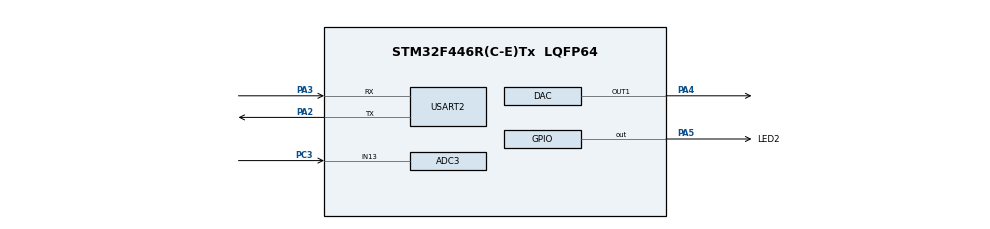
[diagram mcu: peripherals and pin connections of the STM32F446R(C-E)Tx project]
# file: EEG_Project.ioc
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ADC3.Channel-2\#ChannelRegularConversion=ADC_CHANNEL_13
ADC3.ClockPrescaler=ADC_CLOCK_SYNC_PCLK_DIV4
ADC3.DMAContinuousRequests=ENABLE
ADC3.EnableAnalogWatchDog=false
ADC3.ExternalTrigConv=ADC_EXTERNALTRIGCONV_T8_TRGO
ADC3.ExternalTrigConvEdge=ADC_EXTERNALTRIGCONVEDGE_RISING
ADC3.NbrOfConversion=1
ADC3.NbrOfConversionFlag=1
ADC3.Rank-2\#ChannelRegularConversion=1
ADC3.SamplingTime-2\#ChannelRegularConversion=ADC_SAMPLETIME_480CYCLES
DAC.DAC_Trigger=DAC_TRIGGER_T8_TRGO
Dma.ADC3.0.Direction=DMA_PERIPH_TO_MEMORY
Dma.ADC3.0.FIFOMode=DMA_FIFOMODE_DISABLE
Dma.ADC3.0.Instance=DMA2_Stream0
Dma.ADC3.0.MemDataAlignment=DMA_MDATAALIGN_HALFWORD
Dma.ADC3.0.MemInc=DMA_MINC_ENABLE
Dma.ADC3.0.Mode=DMA_CIRCULAR
Dma.ADC3.0.PeriphDataAlignment=DMA_PDATAALIGN_HALFWORD
Dma.ADC3.0.PeriphInc=DMA_PINC_DISABLE
Dma.ADC3.0.Priority=DMA_PRIORITY_MEDIUM
Dma.DAC1.1.Direction=DMA_MEMORY_TO_PERIPH
Dma.DAC1.1.FIFOMode=DMA_FIFOMODE_DISABLE
Dma.DAC1.1.Instance=DMA1_Stream5
Dma.DAC1.1.MemDataAlignment=DMA_MDATAALIGN_HALFWORD
Dma.DAC1.1.MemInc=DMA_MINC_ENABLE
Dma.DAC1.1.Mode=DMA_CIRCULAR
Dma.DAC1.1.PeriphDataAlignment=DMA_PDATAALIGN_HALFWORD
Dma.DAC1.1.PeriphInc=DMA_PINC_DISABLE
Dma.DAC1.1.Priority=DMA_PRIORITY_MEDIUM
Dma.Request0=ADC3
Dma.Request1=DAC1
Mcu.Family=STM32F4
Mcu.Name=STM32F446R(C-E)Tx
Mcu.Package=LQFP64
NVIC.ADC_IRQn=true\:0\:0\:false\:false\:true\:true\:true\:true
NVIC.DMA1_Stream5_IRQn=true\:0\:0\:false\:false\:true\:false\:true\:true
NVIC.DMA2_Stream0_IRQn=true\:0\:0\:false\:false\:true\:false\:true\:true
NVIC.PriorityGroup=NVIC_PRIORITYGROUP_4
PA13.Mode=Serial_Wire
PA13.Signal=SYS_JTMS-SWDIO
PA14.Mode=Serial_Wire
PA14.Signal=SYS_JTCK-SWCLK
PA2.Mode=Asynchronous
PA2.Signal=USART2_TX
PA3.Mode=Asynchronous
PA3.Signal=USART2_RX
PA4.Signal=COMP_DAC1_group
PA5.GPIO_Label=LED2
PA5.Signal=GPIO_Output
PC3.Signal=ADCx_IN13
ProjectManager.HeapSize=0x200
ProjectManager.StackSize=0x400
ProjectManager.TargetToolchain=STM32CubeIDE
RCC.CortexFreq_Value=16000000
RCC.USBFreq_Value=96000000
RCC.VCOOutputFreq_Value=192000000
SH.ADCx_IN13.0=ADC3_IN13,IN13
SH.COMP_DAC1_group.0=DAC_OUT1,DAC_OUT1
TIM8.Period=1
TIM8.Prescaler=15999
TIM8.TIM_MasterOutputTrigger=TIM_TRGO_UPDATE
USART2.VirtualMode=VM_ASYNC
VP_TIM8_VS_ClockSourceINT.Mode=Internal
board=custom

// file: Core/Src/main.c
/* USER CODE BEGIN Header */
/**
  ******************************************************************************
  * @file           : main.c
  * @brief          : Main program body
  ******************************************************************************
  * @attention
  *
  * Copyright (c) 2025 STMicroelectronics.
  * All rights reserved.
  *
  * This software is licensed under terms that can be found in the LICENSE file
  * in the root directory of this software component.
  * If no LICENSE file comes with this software, it is provided AS-IS.
  *
  ******************************************************************************
  */
/* USER CODE END Header */
#include "main.h"

/* USER CODE BEGIN Includes */
#include "arm_math.h"
#include <math.h>
#include <string.h>
/* USER CODE END Includes */

/* USER CODE BEGIN PTD */
#define NUM_STAGES   3          // you said: 2 for bandpass + 1 notch
#define BLOCK_SIZE   512        // number of samples you process per call (can be half DMA buffer)
#define FS_HZ       500
//#define FFT_LEN     512
//#define FFT_BINS    (FFT_LEN/2)

////// old code end here
#define SEG_LEN    256
#define HOP        128          // 50% overlap
#define NFFT       SEG_LEN       // main bin length
#define K_TARGET   7			// # of subbins in 2 seconds
#define FFT_BINS   (NFFT/2)     // FFT bins
#define DF_HZ      ((float)FS_HZ/(float)SEG_LEN)
/* USER CODE END PTD */

ADC_HandleTypeDef hadc3;
DMA_HandleTypeDef hdma_adc3;

DAC_HandleTypeDef hdac;
DMA_HandleTypeDef hdma_dac1;

TIM_HandleTypeDef htim8;

UART_HandleTypeDef huart2;

/* USER CODE BEGIN PV */
volatile uint32_t Buffer_Length = 512;
uint16_t adc_buf[512];   // DMA buffer for ADC samples
uint16_t work_buf1[512];
uint16_t work_buf2[512];// a buffer for me to use to do math dc removal/windowing/filtering etc.
uint16_t out_buf[512];
volatile uint8_t which_half = 0;
volatile uint8_t buffer_ready = 0;
static float dac_scale = 15.0f;   //
/////////////////////////////////////////////////////////////////////////// Filter coefficients
float biquad_coeffs[NUM_STAGES * 5] = {
    0.0366f, 0.0731f, 0.0366f, 1.3909f, -0.5372f,   // LPF coefiicients b0, b1, b2, a1, a2 BE CAREFUL THIS PROGRAM FLIPS THE SIGNS OF A COEFFICIENTS
	1.0000f,-1.6180f, 1.0000f, 1.6019f, -0.9801f,  //Notch coefiieicnts b0, b1, b2, a1, a2
	1.0000f,-2.0000f, 1.0000f, 1.9800f, -0.9801f,  //HPF coefiieicnts b0, b1, b2, a1, a2
};
/////////////////////////////////////////////////////////////////////////// Filter coefficients
/////////////////////////////////////////////////////////////////////////// Filtering Variables
float biquad_state[NUM_STAGES * 2];
arm_biquad_cascade_df2T_instance_f32 biquadS;

static float in_f[BLOCK_SIZE];
static float out_f[BLOCK_SIZE];
/////////////////////////////////////////////////////////////////////////// Filtering Variables

///////////////////////////////////////////////////////////////////////////	FFT variables
//arm_rfft_fast_instance_f32 rfft;
//static float fft_in[FFT_LEN];
//static float fft_out[FFT_LEN];
//float mag[(FFT_LEN/2)+1];
//float hann[FFT_LEN];
//static uint16_t k_max = 55;
float EEG_DATA[6]; // indices: 0 = delta; 1 = theta; 2 = alpha; 3 = beta; 4 = 50hz hum; 5 = power band of 12HZ+24Hz
///// old code end here

// Welch / Hamming state
static float ring[SEG_LEN*2];          // copy-free overlap
static int   wr = 0, newCount = 0, K = 0;

arm_rfft_fast_instance_f32 rfft;
static float ham[SEG_LEN];             // Hamming window
static float U = 0.0f;                 // window power (≈0.3974 for Hamming 256)
static float seg[SEG_LEN];
static float fft_in[NFFT], fft_out[NFFT];

static float psd_accum[NFFT/2 + 1]; // psd means power spectral density = power of frequency spectrum basically
static float psd[NFFT/2 + 1];

///////////////////////////////////////////////////////////////////////////	FFT variables

/* USER CODE END PV */

void SystemClock_Config(void);
static void MX_GPIO_Init(void);
static void MX_DMA_Init(void);
static void MX_ADC3_Init(void);
static void MX_USART2_UART_Init(void);
static void MX_DAC_Init(void);
static void MX_TIM8_Init(void);
/* USER CODE BEGIN PFP */
static void print_stats(uint16_t *p, size_t n);
static void DMA_Tester(void);
static void Dc_Removal(const uint16_t *in, uint16_t *out, size_t n);
static void ADC_DAC_test (uint16_t *in, uint16_t *out, size_t n);
static void process_block(uint16_t *in, uint16_t *out, size_t n);
static void my_fft_block (const uint16_t *in, float *hann, uint16_t k_max);  // FFT pipeline
static void init_hamming(void);
static void Bandpower(const float *in);
static void EEG_OUT(void);
static void init_hann_window(void); // comment from here to go back to previous version
static void Bandpower_from_psd(const float *Sxx, float df);
static void welch_process_segment(void);
static inline void welch_push_sample(float x);
static void EEG_OUT2(void);
/* USER CODE END PFP */

/* USER CODE BEGIN 0 */
#include <stdio.h>
int __io_putchar(int ch) {
  extern UART_HandleTypeDef huart2;
  HAL_UART_Transmit(&huart2, (uint8_t*)&ch, 1, 10);
  return ch;
}
/* USER CODE END 0 */

int main(void)
{

  /* MCU Configuration--------------------------------------------------------*/

  /* Reset of all peripherals, Initializes the Flash interface and the Systick. */
  HAL_Init();

  /* Configure the system clock */
  SystemClock_Config();

  /* Initialize all configured peripherals */
  MX_GPIO_Init();
  MX_DMA_Init();
  MX_ADC3_Init();
  MX_USART2_UART_Init();
  MX_DAC_Init();
  MX_TIM8_Init();
  /* USER CODE BEGIN 2 */
  HAL_ADC_Start_DMA(&hadc3, (uint32_t*)adc_buf, Buffer_Length);
  HAL_DAC_Start(&hdac, DAC_CHANNEL_1);
  HAL_TIM_Base_Start(&htim8);
  arm_biquad_cascade_df2T_init_f32(&biquadS, NUM_STAGES,biquad_coeffs,biquad_state);
  arm_rfft_fast_init_f32(&rfft, NFFT);   // Init FFT
  init_hamming();
  memset(psd_accum, 0, sizeof(psd_accum));
  K = 0;
//  init_hann_window();                       // Fill hann[] table /////// to go back to previous version uncomment
  printf("delta,theta,alpha,beta\n");
  /* USER CODE END 2 */

  /* Infinite loop */
  /* USER CODE BEGIN WHILE */
  while (1)
  {
	  if (buffer_ready){
		  Dc_Removal(adc_buf, work_buf1, Buffer_Length); // the processing that we do
		  process_block(work_buf1, out_buf,Buffer_Length);

//		  ADC_DAC_test(adc_buf, out_buf, Buffer_Length);
		  HAL_DAC_Stop_DMA(&hdac, DAC_CHANNEL_1);
		  HAL_DAC_Start_DMA(&hdac, DAC_CHANNEL_1, (uint32_t*)out_buf, Buffer_Length, DAC_ALIGN_12B_R);
//		  //// uncomment for the previus fft block
//		  my_fft_block(out_buf,hann,k_max); //FFT function
//		  Bandpower(mag);
//		  EEG_OUT();

		  for (size_t i=0; i<Buffer_Length; i++){
		      welch_push_sample(out_f[i]);   // analyze filtered float stream
		  }

		  buffer_ready  = 0;
	  }

//	  DMA_Tester();
//	  HAL_Delay(20);
//	  HAL_GPIO_TogglePin(LED2_GPIO_Port,LED2_Pin);

//	  printf("Hello UART2!\r\n");
//	  HAL_Delay(1000);
    /* USER CODE END WHILE */

  }
}

void SystemClock_Config(void)
{
  RCC_OscInitTypeDef RCC_OscInitStruct = {0};
  RCC_ClkInitTypeDef RCC_ClkInitStruct = {0};

  /** Configure the main internal regulator output voltage
  */
  __HAL_RCC_PWR_CLK_ENABLE();
  __HAL_PWR_VOLTAGESCALING_CONFIG(PWR_REGULATOR_VOLTAGE_SCALE3);

  /** Initializes the RCC Oscillators according to the specified parameters
  * in the RCC_OscInitTypeDef structure.
  */
  RCC_OscInitStruct.OscillatorType = RCC_OSCILLATORTYPE_HSI;
  RCC_OscInitStruct.HSIState = RCC_HSI_ON;
  RCC_OscInitStruct.HSICalibrationValue = RCC_HSICALIBRATION_DEFAULT;
  RCC_OscInitStruct.PLL.PLLState = RCC_PLL_NONE;
  if (HAL_RCC_OscConfig(&RCC_OscInitStruct) != HAL_OK)
  {
    Error_Handler();
  }

  /** Initializes the CPU, AHB and APB buses clocks
  */
  RCC_ClkInitStruct.ClockType = RCC_CLOCKTYPE_HCLK|RCC_CLOCKTYPE_SYSCLK
                              |RCC_CLOCKTYPE_PCLK1|RCC_CLOCKTYPE_PCLK2;
  RCC_ClkInitStruct.SYSCLKSource = RCC_SYSCLKSOURCE_HSI;
  RCC_ClkInitStruct.AHBCLKDivider = RCC_SYSCLK_DIV1;
  RCC_ClkInitStruct.APB1CLKDivider = RCC_HCLK_DIV1;
  RCC_ClkInitStruct.APB2CLKDivider = RCC_HCLK_DIV1;

  if (HAL_RCC_ClockConfig(&RCC_ClkInitStruct, FLASH_LATENCY_0) != HAL_OK)
  {
    Error_Handler();
  }
}

static void MX_ADC3_Init(void)
{

  ADC_ChannelConfTypeDef sConfig = {0};

  /** Configure the global features of the ADC (Clock, Resolution, Data Alignment and number of conversion)
  */
  hadc3.Instance = ADC3;
  hadc3.Init.ClockPrescaler = ADC_CLOCK_SYNC_PCLK_DIV4;
  hadc3.Init.Resolution = ADC_RESOLUTION_12B;
  hadc3.Init.ScanConvMode = DISABLE;
  hadc3.Init.ContinuousConvMode = DISABLE;
  hadc3.Init.DiscontinuousConvMode = DISABLE;
  hadc3.Init.ExternalTrigConvEdge = ADC_EXTERNALTRIGCONVEDGE_RISING;
  hadc3.Init.ExternalTrigConv = ADC_EXTERNALTRIGCONV_T8_TRGO;
  hadc3.Init.DataAlign = ADC_DATAALIGN_RIGHT;
  hadc3.Init.NbrOfConversion = 1;
  hadc3.Init.DMAContinuousRequests = ENABLE;
  hadc3.Init.EOCSelection = ADC_EOC_SINGLE_CONV;
  if (HAL_ADC_Init(&hadc3) != HAL_OK)
  {
    Error_Handler();
  }

  /** Configure for the selected ADC regular channel its corresponding rank in the sequencer and its sample time.
  */
  sConfig.Channel = ADC_CHANNEL_13;
  sConfig.Rank = 1;
  sConfig.SamplingTime = ADC_SAMPLETIME_480CYCLES;
  if (HAL_ADC_ConfigChannel(&hadc3, &sConfig) != HAL_OK)
  {
    Error_Handler();
  }

}

static void MX_DAC_Init(void)
{

  DAC_ChannelConfTypeDef sConfig = {0};

  /** DAC Initialization
  */
  hdac.Instance = DAC;
  if (HAL_DAC_Init(&hdac) != HAL_OK)
  {
    Error_Handler();
  }

  /** DAC channel OUT1 config
  */
  sConfig.DAC_Trigger = DAC_TRIGGER_T8_TRGO;
  sConfig.DAC_OutputBuffer = DAC_OUTPUTBUFFER_ENABLE;
  if (HAL_DAC_ConfigChannel(&hdac, &sConfig, DAC_CHANNEL_1) != HAL_OK)
  {
    Error_Handler();
  }

}

static void MX_TIM8_Init(void)
{

  TIM_ClockConfigTypeDef sClockSourceConfig = {0};
  TIM_MasterConfigTypeDef sMasterConfig = {0};

  htim8.Instance = TIM8;
  htim8.Init.Prescaler = 15999;
  htim8.Init.CounterMode = TIM_COUNTERMODE_UP;
  htim8.Init.Period = 1;
  htim8.Init.ClockDivision = TIM_CLOCKDIVISION_DIV1;
  htim8.Init.RepetitionCounter = 0;
  htim8.Init.AutoReloadPreload = TIM_AUTORELOAD_PRELOAD_DISABLE;
  if (HAL_TIM_Base_Init(&htim8) != HAL_OK)
  {
    Error_Handler();
  }
  sClockSourceConfig.ClockSource = TIM_CLOCKSOURCE_INTERNAL;
  if (HAL_TIM_ConfigClockSource(&htim8, &sClockSourceConfig) != HAL_OK)
  {
    Error_Handler();
  }
  sMasterConfig.MasterOutputTrigger = TIM_TRGO_UPDATE;
  sMasterConfig.MasterSlaveMode = TIM_MASTERSLAVEMODE_DISABLE;
  if (HAL_TIMEx_MasterConfigSynchronization(&htim8, &sMasterConfig) != HAL_OK)
  {
    Error_Handler();
  }

}

static void MX_USART2_UART_Init(void)
{

  huart2.Instance = USART2;
  huart2.Init.BaudRate = 115200;
  huart2.Init.WordLength = UART_WORDLENGTH_8B;
  huart2.Init.StopBits = UART_STOPBITS_1;
  huart2.Init.Parity = UART_PARITY_NONE;
  huart2.Init.Mode = UART_MODE_TX_RX;
  huart2.Init.HwFlowCtl = UART_HWCONTROL_NONE;
  huart2.Init.OverSampling = UART_OVERSAMPLING_16;
  if (HAL_UART_Init(&huart2) != HAL_OK)
  {
    Error_Handler();
  }

}

static void MX_DMA_Init(void)
{

  /* DMA controller clock enable */
  __HAL_RCC_DMA2_CLK_ENABLE();
  __HAL_RCC_DMA1_CLK_ENABLE();

  /* DMA interrupt init */
  /* DMA1_Stream5_IRQn interrupt configuration */
  HAL_NVIC_SetPriority(DMA1_Stream5_IRQn, 0, 0);
  HAL_NVIC_EnableIRQ(DMA1_Stream5_IRQn);
  /* DMA2_Stream0_IRQn interrupt configuration */
  HAL_NVIC_SetPriority(DMA2_Stream0_IRQn, 0, 0);
  HAL_NVIC_EnableIRQ(DMA2_Stream0_IRQn);

}

static void MX_GPIO_Init(void)
{
  GPIO_InitTypeDef GPIO_InitStruct = {0};

  /* GPIO Ports Clock Enable */
  __HAL_RCC_GPIOC_CLK_ENABLE();
  __HAL_RCC_GPIOA_CLK_ENABLE();

  /*Configure GPIO pin Output Level */
  HAL_GPIO_WritePin(LED2_GPIO_Port, LED2_Pin, GPIO_PIN_RESET);

  /*Configure GPIO pin : LED2_Pin */
  GPIO_InitStruct.Pin = LED2_Pin;
  GPIO_InitStruct.Mode = GPIO_MODE_OUTPUT_PP;
  GPIO_InitStruct.Pull = GPIO_NOPULL;
  GPIO_InitStruct.Speed = GPIO_SPEED_FREQ_LOW;
  HAL_GPIO_Init(LED2_GPIO_Port, &GPIO_InitStruct);

}

/* USER CODE BEGIN 4 */
//void HAL_ADC_ConvCpltCallback(ADC_HandleTypeDef *hadc)
//{
//  if (hadc->Instance == ADC3) {
//    uint16_t raw = HAL_ADC_GetValue(hadc);           // 0..4095
//    uint32_t mv  = (uint32_t)raw * 3300 / 4095;      // assume VDDA ≈ 3.3 V
//    printf("%u,%lu\r\n", raw, (unsigned long)mv);    // CSV to serial
//  }
//}

void HAL_ADC_ConvHalfCpltCallback(ADC_HandleTypeDef* hadc) {
    if (hadc->Instance == ADC3) {
    	HAL_GPIO_TogglePin(LED2_GPIO_Port, LED2_Pin);
    	which_half = 1;
    }
}

void HAL_ADC_ConvCpltCallback(ADC_HandleTypeDef* hadc) {
    if (hadc->Instance == ADC3) {
    	HAL_GPIO_TogglePin(LED2_GPIO_Port, LED2_Pin);
    	which_half = 2;
    	buffer_ready = 1;
    }
}

static void Dc_Removal(const uint16_t *in, uint16_t *out, size_t n){
	uint32_t sum = 0;
	for (size_t i=0; i<n;i++) {sum += in[i];} 						// here we take the sum of the buffer by looping through each element and accumulating
		uint32_t mean = sum/n; 										// here we take the average

	for (size_t i=0; i<n;i++){
		int32_t v = (int32_t)in[i]-(int32_t)mean;
		int32_t x = (int32_t)in[i];
		int32_t y = v + 2048; 									 // we are shifting it to the mid scale so that DAC can write it
//		int32_t y = in;
//		int32_t y = v;
		if (y < 0) y = 0;										 // failsafe ifs to make our output bounded
		if (y > 4095) y = 4095;
		out[i] = (uint16_t)y;
	}
}
static void ADC_DAC_test (uint16_t *in, uint16_t *out, size_t n){
	for (size_t i = 0; i < n; i++) {
	            out[i] = in[i];
	        }
}

static void print_stats(uint16_t *p, size_t n){
	uint32_t sum = 0;											//initilize the variables that we are going to use
	for (size_t i=0; i<n;i++) {uint16_t v = p[i]; sum += v;} 	// here we take the sum of the buffer by looping through each element and accumulating
	uint32_t mean = sum/n;										 // here we take the average
	uint32_t mean_mV = mean * (3000/4095);
	printf("mean=%u (%lumV)\r\n", mean,(unsigned long)mean_mV);
}

static void DMA_Tester(void){
	if (which_half == 1){
			  print_stats(&adc_buf[0], 256);
			  which_half = 0;
		  }

		  else if (which_half == 2){
			  print_stats(&adc_buf[256], 256);
			  which_half = 0;
		  }
}

static inline uint16_t sat12f(float v){ // making sure that our function is bounded
	if (v < 0.f) v = 0.f;
	if (v > 4095.f) v = 4095.f;
	return (uint16_t)(v+0.5f);
}

static void process_block(uint16_t *in, uint16_t *out, size_t n){
	for (size_t i = 0; i<n; i++) {
		in_f[i] = ((float)in[i]-2048.0f)/2048; // i didn't understand why is this the case
	}
	arm_biquad_cascade_df2T_f32(&biquadS, in_f, out_f, n);
	for (size_t i=0; i<n; i++){
		float v = (out_f[i]*dac_scale) * 2048.0f + 2048.0f;
		out[i] = sat12f(v);
	}
}

static void welch_process_segment(void){
	int start = (wr - SEG_LEN + SEG_LEN) % SEG_LEN;

	for (int i = 0; i<SEG_LEN; i++) seg[i] = ring[start + i] * ham[i]; // apply the hammin window to our subsegment

	for (int i = 0; i<SEG_LEN; i++) fft_in[i] = seg[i]; // i fill my fft buffer with windowed subsegment

	for (int i = SEG_LEN; i<NFFT; i++) fft_in[i] = 0.0f; // if the rest of the buffer is not needed fill with zeros

	arm_rfft_fast_f32(&rfft, fft_in, fft_out, 0); // we take the fft of our subwindow/subsegment

	static float power[NFFT/2 + 1]; //this will be the power of buffer fft removes half the samples and makes from 1hz to 500 hz

	power[0] =  fft_out[0]*fft_out[0];   // DC
	power[NFFT/2] = fft_out[1]*fft_out[1];   // Nyquist
	arm_cmplx_mag_squared_f32(&fft_out[2], &power[1], (NFFT/2 - 1)); // we here square and store

	for (int k = 0; k <= NFFT/2; k++) psd_accum[k] += power[k];

	if (++K >= K_TARGET){ // check if we reached 7 subsamples and if so:
		for (int k=0; k<=NFFT/2;k++){
			float two = (k==0 || k==NFFT/2) ? 1.0f : 2.0f; // if the frequencies are not nyquist or zero then w_i = w_i*2 because they represent both the -w_i and +w_i energies
			psd[k] = (two * psd_accum[k]) / ((float)K * (float)FS_HZ * (float)SEG_LEN * U);
		}
		memset(psd_accum, 0, sizeof(psd_accum));
		K = 0;

		Bandpower_from_psd(psd, DF_HZ); // calculate the band power
		EEG_OUT2();
	}
}

static inline void welch_push_sample(float x){
	ring [wr] = x; ring[wr + SEG_LEN] = x; // mirror
	wr = (wr + 1) % SEG_LEN;
	if(++newCount >= HOP){
		newCount = 0;
		welch_process_segment();
	}
}

// also uncomment to go back to previous versi
//static void my_fft_block (const uint16_t *in, float *hann, uint16_t k_max){
//	const float LSB_V = 3.3f/ 4095.0f; // this is the voltage of one bit
//	for (int i = 0; i < FFT_LEN; i++){
//		float x = ((float)in[i] - 2048.0f) * LSB_V; // -2048 because removing 1.65Dc offset, LSB_V is voltage of one count so multiply to get volts
//		fft_in[i] = x * hann[i];
//	}
//	arm_rfft_fast_f32(&rfft, fft_in, fft_out, 0);
//
//	for (int k = 0; k < FFT_BINS; k++){
//		float re = fft_out[2*k + 0];
//		float im = fft_out[2*k + 1]; // because it is a complex array we store a complex number in two array points
//		mag[k] = (re*re + im*im) / (FFT_LEN * FFT_LEN); // here we get the magnitude array of our
//	}
//	for (int k = 0; k <= k_max; k++){
//		float freq = (FS_HZ *(float)k) / (float)FFT_LEN;
////		printf("%2d, %6.2f Hz, %f\r\n", k, freq, mag[k]);
//	}
////	printf("---\r\n");
//}

// uncomment to go back to previous versino of the code
//static void init_hann_window(void) {
//    for (int i = 0; i < FFT_LEN; i++) {
//        hann[i] = 0.5f * (1.0f - cosf((2.0f * M_PI * i) / (FFT_LEN - 1)));
//    }
//}

static void init_hamming(void){
	U = 0.0f;
	for (int n=0; n<SEG_LEN; n++){
		ham[n] = 0.54f - 0.46f * cosf(2.0f * M_PI * n / (SEG_LEN - 1));
		U += ham[n]*ham[n];
	}
	U /= (float)SEG_LEN;
}

static void Bandpower_from_psd(const float *Sxx, float df){
    // 0..3: classic bands
    const float lo[4] = {1.0f, 4.0f,  8.0f, 13.0f};
    const float hi[4] = {4.0f, 8.0f, 13.0f, 30.0f};
    for (int i=0;i<6;i++) EEG_DATA[i]=0.0f;

    for (int b=0; b<4; b++){
        int k0 = (int)lroundf(lo[b]/df); if (k0<1) k0=1;
        int k1 = (int)lroundf(hi[b]/df); if (k1>(NFFT/2)) k1=(NFFT/2);
        float sum=0.0f; for (int k=k0;k<=k1;k++) sum+=Sxx[k];
        EEG_DATA[b] = sum * df;
    }
    // 4: 50 Hz line (single-bin approx)
    int k50 = (int)lroundf(50.0f/df); if (k50>(NFFT/2)) k50=(NFFT/2);
    EEG_DATA[4] = Sxx[k50]*df;

    // 5: 12 Hz + 24 Hz narrow bands (±0.5 Hz)
    int k12a=(int)floorf((12.0f-0.5f)/df), k12b=(int)ceilf((12.0f+0.5f)/df);
    int k24a=(int)floorf((24.0f-0.5f)/df), k24b=(int)ceilf((24.0f+0.5f)/df);
    float s=0.0f;
    for(int k=k12a;k<=k12b;k++) if(k>=1 && k<=NFFT/2) s+=Sxx[k];
    for(int k=k24a;k<=k24b;k++) if(k>=1 && k<=NFFT/2) s+=Sxx[k];
    EEG_DATA[5]=s*df;
}

static void Bandpower(const float *in){
	for(int i=0; i<4; i++) EEG_DATA[i] = 0;   // reset

	for (int i = 1; i < 5; i++){
		EEG_DATA[0] += in[i]; // this is delta band
	}
	for (int i = 5; i < 8; i++){
		EEG_DATA[1] += in[i]; // this is theta
	}
	for (int i = 8; i < 13; i++){
		EEG_DATA[2] += in[i];
	}
	for (int i = 13; i<22; i++){
		EEG_DATA[3] += in[i];
	}
}

static void EEG_OUT(void){

	printf("delta:%f,theta:%f,alpha:%f,beta:%f\n",
	           EEG_DATA[0], EEG_DATA[1], EEG_DATA[2], EEG_DATA[3]);
}

static void EEG_OUT2(void){

	printf("delta:%f,theta:%f,alpha:%f,beta:%f\n,50hz:%f\n,12+24hz:%f\n",
	           EEG_DATA[0], EEG_DATA[1], EEG_DATA[2], EEG_DATA[3], EEG_DATA[4], EEG_DATA[5]);
}

/* USER CODE END 4 */

void Error_Handler(void)
{
  __disable_irq();
  while (1)
  {
  }
}
